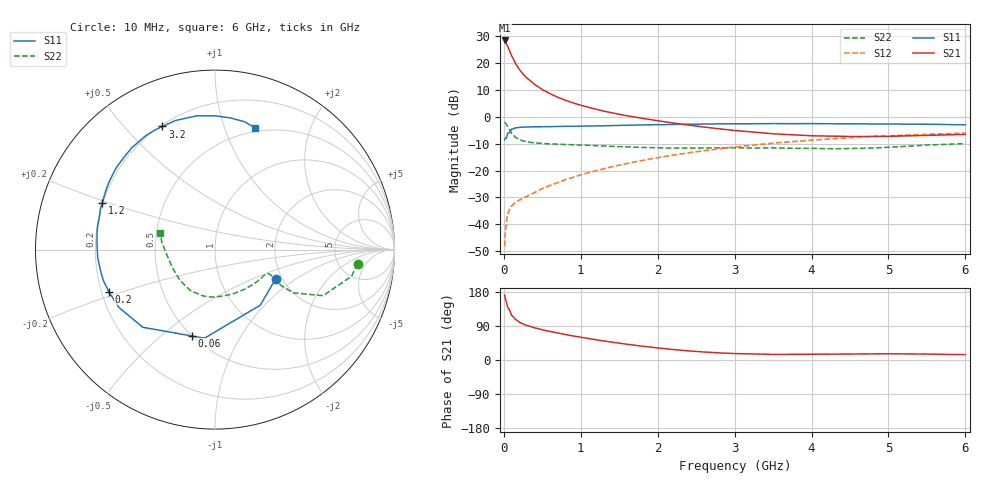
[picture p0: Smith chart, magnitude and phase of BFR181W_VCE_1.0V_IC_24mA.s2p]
! Infineon Technologies  Discrete & RF Semiconductors
! BFR181W
! VCE =  1.0 V,  IC =  24 mA
! Common Emitter S-Parameters:  Jan 2017
# GHz  S  MA  R  50
!  f  S11  S21  S12  S22
! GHz  MAG  ANG  MAG  ANG  MAG  ANG  MAG  ANG
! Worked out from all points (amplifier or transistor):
!   77 points, 10 MHz to 6 GHz, reference 50 ohm
!   highest |S21| = 28.5 dB at 10 MHz (marker M1)
!   |S21| within 3 dB of that: start of sweep to 61.87 MHz
!   unconditionally stable (mu >= 1): start of sweep to 17.61 MHz; 181.9 MHz to end of sweep
!   at 130 MHz: K = 0.81, MSG = 26.8 dB, |S12| = -32.4 dB
!   at 2.2 GHz: K = 1.40, MAG = 2.2 dB, |S12| = -14.2 dB
!   at 6 GHz: K = 1.27, MAG = -3.3 dB, |S12| = -6.0 dB
!   S11 on the Smith chart (normalised r, x): 10 MHz: 1.85, -0.70; 60 MHz: 0.50, -0.64; 200 MHz: 0.23, -0.18; 1.2 GHz: 0.20, +0.19; 3.2 GHz: 0.21, +0.64; 6 GHz: 0.46, +1.28
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0.01  0.3752 -25.8  26.63 171.2  0.0039 70.4  0.7979 -5.7
0.02  0.3994 -50.8  25.62 161.3  0.007 70.8  0.7754 -11.0
0.05  0.4973 -96.8  20.65 139.3  0.016 57.2  0.6548 -23.1
0.06  0.4982 -104.8  19.13 136.3  0.0171 55.0  0.6228 -24.0
0.1  0.5908 -132.9  13.85 118.1  0.0217 48.6  0.497 -29.0
0.15  0.6251 -149.0  10.02 107.4  0.0255 46.2  0.4186 -28.5
0.2  0.6368 -158.4  7.742 100.1  0.028 47.3  0.3792 -26.9
0.25  0.6456 -164.6  6.295 95.0  0.0308 49.9  0.3578 -25.6
0.3  0.6485 -169.3  5.292 91.1  0.0331 53.0  0.3436 -24.6
0.4  0.6551 -176.1  4.025 84.8  0.039 57.5  0.3286 -24.2
0.5  0.6564 179.2  3.232 79.8  0.0461 61.6  0.3202 -24.8
0.7  0.664 171.8  2.331 71.3  0.0595 66.8  0.3101 -27.4
0.9  0.6679 165.5  1.824 63.5  0.0751 69.3  0.3028 -31.9
1.1  0.6786 160.1  1.509 56.7  0.0916 71.1  0.2953 -36.8
1.2  0.6803 157.4  1.388 53.4  0.0994 71.6  0.2913 -39.5
1.6  0.6997 147.7  1.053 41.6  0.1356 71.4  0.2775 -52.1
2.1  0.7196 136.0  0.809 29.8  0.184 68.6  0.2639 -70.9
3.1  0.7453 115.1  0.543 16.6  0.2847 58.5  0.2646 -108.1
3.2  0.7457 113.1  0.529 16.2  0.2944 57.3  0.2636 -111.4
4.1  0.7495 96.3  0.443 15.3  0.3771 46.2  0.2574 -142.2
5.1  0.7363 82.0  0.438 16.3  0.4493 33.8  0.2767 -178.3
6  0.7142 71.6  0.473 14.2  0.5007 23.7  0.3186 163.0
